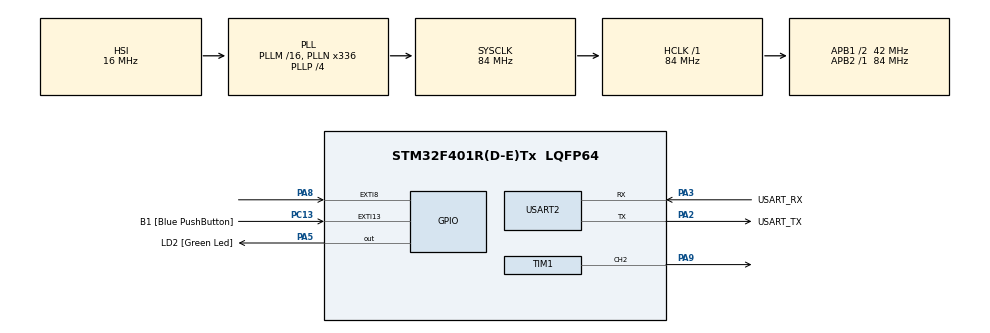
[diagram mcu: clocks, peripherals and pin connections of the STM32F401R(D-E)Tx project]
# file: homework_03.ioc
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Mcu.Family=STM32F4
Mcu.Name=STM32F401R(D-E)Tx
Mcu.Package=LQFP64
NVIC.EXTI15_10_IRQn=true\:0\:0\:false\:false\:true\:true\:true\:true
NVIC.EXTI9_5_IRQn=true\:0\:0\:false\:false\:true\:true\:true\:true
NVIC.PriorityGroup=NVIC_PRIORITYGROUP_4
NVIC.TIM2_IRQn=true\:0\:0\:false\:false\:true\:true\:true\:true
PA13.GPIO_Label=TMS
PA13.Mode=Trace_Asynchronous_SW
PA13.Signal=SYS_JTMS-SWDIO
PA14.GPIO_Label=TCK
PA14.Mode=Trace_Asynchronous_SW
PA14.Signal=SYS_JTCK-SWCLK
PA2.GPIO_Label=USART_TX
PA2.GPIO_Mode=GPIO_MODE_AF_PP
PA2.GPIO_PuPd=GPIO_NOPULL
PA2.GPIO_Speed=GPIO_SPEED_FREQ_LOW
PA2.Mode=Asynchronous
PA2.Signal=USART2_TX
PA3.GPIO_Label=USART_RX
PA3.GPIO_Mode=GPIO_MODE_AF_PP
PA3.GPIO_PuPd=GPIO_NOPULL
PA3.GPIO_Speed=GPIO_SPEED_FREQ_LOW
PA3.Mode=Asynchronous
PA3.Signal=USART2_RX
PA5.GPIO_Label=LD2 [Green Led]
PA5.GPIO_Mode=GPIO_MODE_OUTPUT_PP
PA5.GPIO_PuPd=GPIO_NOPULL
PA5.GPIO_Speed=GPIO_SPEED_FREQ_LOW
PA5.Signal=GPIO_Output
PA8.Signal=GPXTI8
PA9.Signal=S_TIM1_CH2
PB3.GPIO_Label=SWO
PB3.Mode=Trace_Asynchronous_SW
PB3.Signal=SYS_JTDO-SWO
PC13-ANTI_TAMP.GPIO_Label=B1 [Blue PushButton]
PC13-ANTI_TAMP.GPIO_ModeDefaultEXTI=GPIO_MODE_IT_FALLING
PC13-ANTI_TAMP.GPIO_PuPd=GPIO_NOPULL
PC13-ANTI_TAMP.Signal=GPXTI13
PC14-OSC32_IN.Mode=LSE-External-Oscillator
PC14-OSC32_IN.Signal=RCC_OSC32_IN
PC15-OSC32_OUT.Mode=LSE-External-Oscillator
PC15-OSC32_OUT.Signal=RCC_OSC32_OUT
PH0\ -\ OSC_IN.Mode=HSE-External-Clock-Source
PH0\ -\ OSC_IN.Signal=RCC_OSC_IN
PH1\ -\ OSC_OUT.Mode=HSE-External-Clock-Source
PH1\ -\ OSC_OUT.Signal=RCC_OSC_OUT
ProjectManager.HeapSize=0x200
ProjectManager.StackSize=0x400
ProjectManager.TargetToolchain=CMake
RCC.48MHZClocksFreq_Value=48000000
RCC.AHBFreq_Value=84000000
RCC.APB1CLKDivider=RCC_HCLK_DIV2
RCC.APB1Freq_Value=42000000
RCC.APB1TimFreq_Value=84000000
RCC.APB2Freq_Value=84000000
RCC.APB2TimFreq_Value=84000000
RCC.CortexFreq_Value=84000000
RCC.HCLKFreq_Value=84000000
RCC.HSE_VALUE=8000000
RCC.HSI_VALUE=16000000
RCC.PLLN=336
RCC.PLLP=RCC_PLLP_DIV4
RCC.PLLQ=7
RCC.SYSCLKFreq_VALUE=84000000
RCC.SYSCLKSource=RCC_SYSCLKSOURCE_PLLCLK
RCC.VCOOutputFreq_Value=336000000
SH.S_TIM1_CH2.0=TIM1_CH2,PWM Generation2 CH2
TIM1.Channel-PWM\ Generation2\ CH2=TIM_CHANNEL_2
TIM1.Period=3206-1
TIM1.Prescaler=100-1
TIM2.Period=1000-1
TIM2.Prescaler=84-1
USART2.VirtualMode=VM_ASYNC
VP_TIM1_VS_ClockSourceINT.Mode=Internal
VP_TIM2_VS_ClockSourceINT.Mode=Internal
board=NUCLEO-F401RE

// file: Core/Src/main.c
/* USER CODE BEGIN Header */
/* USER CODE END Header */
#include "main.h"

/* USER CODE BEGIN PD */
#define DO 3206
#define DOb 3032
#define RE 2857
#define REb 2701
#define MI 2545
#define FA 2407
#define FAb 2270
#define SOL 2143
#define SOLb 2024
#define LA 1909
#define LAb 1803
#define SI 1700
#define size 64
/* USER CODE END PD */

TIM_HandleTypeDef htim1;
TIM_HandleTypeDef htim2;

UART_HandleTypeDef huart2;

/* USER CODE BEGIN PV */
volatile uint8_t play = 0; // Flag to indicate if the melody should be played
volatile uint16_t tim = 0; // Timer counter
volatile uint8_t note = 0; // Note index
volatile uint32_t last_play_end = 0; // Timer per il cooldown del microfono
uint16_t notes[size] = {
  SOL, SOL, SOL, LA, SOL, SOL, FA, FA,
  MI, MI, FA, FA, SOL, SOL, SOL, SOL,
  RE, RE, MI, MI, FA, FA, FA, FA,
  MI, MI, FA, FA, SOL, SOL, SOL, SOL,
  SOL, SOL, SOL, LA, SOL, SOL, FA, FA,
  MI, MI, FA, FA, SOL, SOL, SOL, SOL,
  RE, RE, RE, RE, SOL, SOL, SOL, SOL,
  MI, MI, DO, DO, DO, DO, DO, DO
};
  uint8_t time = 200; // Duration of each note in milliseconds
/* USER CODE END PV */

void SystemClock_Config(void);
static void MX_GPIO_Init(void);
static void MX_USART2_UART_Init(void);
static void MX_TIM1_Init(void);
static void MX_TIM2_Init(void);

int main(void)
{

  /* MCU Configuration--------------------------------------------------------*/

  /* Reset of all peripherals, Initializes the Flash interface and the Systick. */
  HAL_Init();

  /* Configure the system clock */
  SystemClock_Config();

  /* Initialize all configured peripherals */
  MX_GPIO_Init();
  MX_USART2_UART_Init();
  MX_TIM1_Init();
  MX_TIM2_Init();
  /* USER CODE BEGIN 2 */
  HAL_TIM_Base_Start_IT(&htim2);
  /* USER CODE END 2 */

  /* Infinite loop */
  while (1)
  {

  }
}

void SystemClock_Config(void)
{
  RCC_OscInitTypeDef RCC_OscInitStruct = {0};
  RCC_ClkInitTypeDef RCC_ClkInitStruct = {0};

  /** Configure the main internal regulator output voltage
  */
  __HAL_RCC_PWR_CLK_ENABLE();
  __HAL_PWR_VOLTAGESCALING_CONFIG(PWR_REGULATOR_VOLTAGE_SCALE2);

  /** Initializes the RCC Oscillators according to the specified parameters
  * in the RCC_OscInitTypeDef structure.
  */
  RCC_OscInitStruct.OscillatorType = RCC_OSCILLATORTYPE_HSI;
  RCC_OscInitStruct.HSIState = RCC_HSI_ON;
  RCC_OscInitStruct.HSICalibrationValue = RCC_HSICALIBRATION_DEFAULT;
  RCC_OscInitStruct.PLL.PLLState = RCC_PLL_ON;
  RCC_OscInitStruct.PLL.PLLSource = RCC_PLLSOURCE_HSI;
  RCC_OscInitStruct.PLL.PLLM = 16;
  RCC_OscInitStruct.PLL.PLLN = 336;
  RCC_OscInitStruct.PLL.PLLP = RCC_PLLP_DIV4;
  RCC_OscInitStruct.PLL.PLLQ = 7;
  if (HAL_RCC_OscConfig(&RCC_OscInitStruct) != HAL_OK)
  {
    Error_Handler();
  }

  /** Initializes the CPU, AHB and APB buses clocks
  */
  RCC_ClkInitStruct.ClockType = RCC_CLOCKTYPE_HCLK|RCC_CLOCKTYPE_SYSCLK
                              |RCC_CLOCKTYPE_PCLK1|RCC_CLOCKTYPE_PCLK2;
  RCC_ClkInitStruct.SYSCLKSource = RCC_SYSCLKSOURCE_PLLCLK;
  RCC_ClkInitStruct.AHBCLKDivider = RCC_SYSCLK_DIV1;
  RCC_ClkInitStruct.APB1CLKDivider = RCC_HCLK_DIV2;
  RCC_ClkInitStruct.APB2CLKDivider = RCC_HCLK_DIV1;

  if (HAL_RCC_ClockConfig(&RCC_ClkInitStruct, FLASH_LATENCY_2) != HAL_OK)
  {
    Error_Handler();
  }
}

static void MX_TIM1_Init(void)
{

  TIM_ClockConfigTypeDef sClockSourceConfig = {0};
  TIM_MasterConfigTypeDef sMasterConfig = {0};
  TIM_OC_InitTypeDef sConfigOC = {0};
  TIM_BreakDeadTimeConfigTypeDef sBreakDeadTimeConfig = {0};

  htim1.Instance = TIM1;
  htim1.Init.Prescaler = 100-1;
  htim1.Init.CounterMode = TIM_COUNTERMODE_UP;
  htim1.Init.Period = 3206-1;
  htim1.Init.ClockDivision = TIM_CLOCKDIVISION_DIV1;
  htim1.Init.RepetitionCounter = 0;
  htim1.Init.AutoReloadPreload = TIM_AUTORELOAD_PRELOAD_DISABLE;
  if (HAL_TIM_Base_Init(&htim1) != HAL_OK)
  {
    Error_Handler();
  }
  sClockSourceConfig.ClockSource = TIM_CLOCKSOURCE_INTERNAL;
  if (HAL_TIM_ConfigClockSource(&htim1, &sClockSourceConfig) != HAL_OK)
  {
    Error_Handler();
  }
  if (HAL_TIM_PWM_Init(&htim1) != HAL_OK)
  {
    Error_Handler();
  }
  sMasterConfig.MasterOutputTrigger = TIM_TRGO_RESET;
  sMasterConfig.MasterSlaveMode = TIM_MASTERSLAVEMODE_DISABLE;
  if (HAL_TIMEx_MasterConfigSynchronization(&htim1, &sMasterConfig) != HAL_OK)
  {
    Error_Handler();
  }
  sConfigOC.OCMode = TIM_OCMODE_PWM1;
  sConfigOC.Pulse = 0;
  sConfigOC.OCPolarity = TIM_OCPOLARITY_HIGH;
  sConfigOC.OCNPolarity = TIM_OCNPOLARITY_HIGH;
  sConfigOC.OCFastMode = TIM_OCFAST_DISABLE;
  sConfigOC.OCIdleState = TIM_OCIDLESTATE_RESET;
  sConfigOC.OCNIdleState = TIM_OCNIDLESTATE_RESET;
  if (HAL_TIM_PWM_ConfigChannel(&htim1, &sConfigOC, TIM_CHANNEL_2) != HAL_OK)
  {
    Error_Handler();
  }
  sBreakDeadTimeConfig.OffStateRunMode = TIM_OSSR_DISABLE;
  sBreakDeadTimeConfig.OffStateIDLEMode = TIM_OSSI_DISABLE;
  sBreakDeadTimeConfig.LockLevel = TIM_LOCKLEVEL_OFF;
  sBreakDeadTimeConfig.DeadTime = 0;
  sBreakDeadTimeConfig.BreakState = TIM_BREAK_DISABLE;
  sBreakDeadTimeConfig.BreakPolarity = TIM_BREAKPOLARITY_HIGH;
  sBreakDeadTimeConfig.AutomaticOutput = TIM_AUTOMATICOUTPUT_DISABLE;
  if (HAL_TIMEx_ConfigBreakDeadTime(&htim1, &sBreakDeadTimeConfig) != HAL_OK)
  {
    Error_Handler();
  }
  HAL_TIM_MspPostInit(&htim1);

}

static void MX_TIM2_Init(void)
{

  TIM_ClockConfigTypeDef sClockSourceConfig = {0};
  TIM_MasterConfigTypeDef sMasterConfig = {0};

  htim2.Instance = TIM2;
  htim2.Init.Prescaler = 84-1;
  htim2.Init.CounterMode = TIM_COUNTERMODE_UP;
  htim2.Init.Period = 1000-1;
  htim2.Init.ClockDivision = TIM_CLOCKDIVISION_DIV1;
  htim2.Init.AutoReloadPreload = TIM_AUTORELOAD_PRELOAD_DISABLE;
  if (HAL_TIM_Base_Init(&htim2) != HAL_OK)
  {
    Error_Handler();
  }
  sClockSourceConfig.ClockSource = TIM_CLOCKSOURCE_INTERNAL;
  if (HAL_TIM_ConfigClockSource(&htim2, &sClockSourceConfig) != HAL_OK)
  {
    Error_Handler();
  }
  sMasterConfig.MasterOutputTrigger = TIM_TRGO_RESET;
  sMasterConfig.MasterSlaveMode = TIM_MASTERSLAVEMODE_DISABLE;
  if (HAL_TIMEx_MasterConfigSynchronization(&htim2, &sMasterConfig) != HAL_OK)
  {
    Error_Handler();
  }

}

static void MX_USART2_UART_Init(void)
{

  huart2.Instance = USART2;
  huart2.Init.BaudRate = 115200;
  huart2.Init.WordLength = UART_WORDLENGTH_8B;
  huart2.Init.StopBits = UART_STOPBITS_1;
  huart2.Init.Parity = UART_PARITY_NONE;
  huart2.Init.Mode = UART_MODE_TX_RX;
  huart2.Init.HwFlowCtl = UART_HWCONTROL_NONE;
  huart2.Init.OverSampling = UART_OVERSAMPLING_16;
  if (HAL_UART_Init(&huart2) != HAL_OK)
  {
    Error_Handler();
  }

}

static void MX_GPIO_Init(void)
{
  GPIO_InitTypeDef GPIO_InitStruct = {0};

  /* GPIO Ports Clock Enable */
  __HAL_RCC_GPIOC_CLK_ENABLE();
  __HAL_RCC_GPIOH_CLK_ENABLE();
  __HAL_RCC_GPIOA_CLK_ENABLE();
  __HAL_RCC_GPIOB_CLK_ENABLE();

  /*Configure GPIO pin Output Level */
  HAL_GPIO_WritePin(LD2_GPIO_Port, LD2_Pin, GPIO_PIN_RESET);

  /*Configure GPIO pin : B1_Pin */
  GPIO_InitStruct.Pin = B1_Pin;
  GPIO_InitStruct.Mode = GPIO_MODE_IT_FALLING;
  GPIO_InitStruct.Pull = GPIO_NOPULL;
  HAL_GPIO_Init(B1_GPIO_Port, &GPIO_InitStruct);

  /*Configure GPIO pin : LD2_Pin */
  GPIO_InitStruct.Pin = LD2_Pin;
  GPIO_InitStruct.Mode = GPIO_MODE_OUTPUT_PP;
  GPIO_InitStruct.Pull = GPIO_NOPULL;
  GPIO_InitStruct.Speed = GPIO_SPEED_FREQ_LOW;
  HAL_GPIO_Init(LD2_GPIO_Port, &GPIO_InitStruct);

  /*Configure GPIO pin : PA8 */
  GPIO_InitStruct.Pin = GPIO_PIN_8;
  GPIO_InitStruct.Mode = GPIO_MODE_IT_RISING;
  GPIO_InitStruct.Pull = GPIO_NOPULL;
  HAL_GPIO_Init(GPIOA, &GPIO_InitStruct);

  /* EXTI interrupt init*/
  HAL_NVIC_SetPriority(EXTI9_5_IRQn, 0, 0);
  HAL_NVIC_EnableIRQ(EXTI9_5_IRQn);

  HAL_NVIC_SetPriority(EXTI15_10_IRQn, 0, 0);
  HAL_NVIC_EnableIRQ(EXTI15_10_IRQn);

}

/* USER CODE BEGIN 4 */

void HAL_GPIO_EXTI_Callback(uint16_t GPIO_Pin)
{
  if ((GPIO_Pin == GPIO_PIN_8) && (!play) && (HAL_GetTick() - last_play_end > 1000)) // Check if the interrupt is from the correct pin
  {
    note = 0;  // Reset the note index
    __HAL_TIM_SET_AUTORELOAD(&htim1, notes[note]); // Load the first note immediately
    __HAL_TIM_SET_COMPARE(&htim1, TIM_CHANNEL_2, notes[note] / 2);
    __HAL_TIM_SET_COUNTER(&htim1, 0);
    __HAL_TIM_SET_COUNTER(&htim2, 0);
    HAL_TIM_PWM_Start(&htim1, TIM_CHANNEL_2);
    play = 1; // Set the flag to start playing the melody
    tim = 0;   // Reset the timer counter
  }
}
void HAL_TIM_PeriodElapsedCallback(TIM_HandleTypeDef *htim)
{
  if ((htim == &htim2) && (play)) // Check if the interrupt is from TIM2
  {
    tim++;
    if (tim >= time){
      note++; // Move to the next note
      if (note >= size) {
        note = 0; // Loop back to the first note
        play = 0;
        last_play_end = HAL_GetTick(); // Registra il momento in cui finisce la canzone
        HAL_TIM_PWM_Stop(&htim1, TIM_CHANNEL_2); // Stop PWM when the melody is finished
      } else {
        __HAL_TIM_SET_AUTORELOAD(&htim1, notes[note]); // Set PWM period to the current note
        __HAL_TIM_SET_COMPARE(&htim1, TIM_CHANNEL_2, notes[note] / 2);
      }
      tim = 0;
    }
  }
}
/* USER CODE END 4 */

void Error_Handler(void)
{
}
